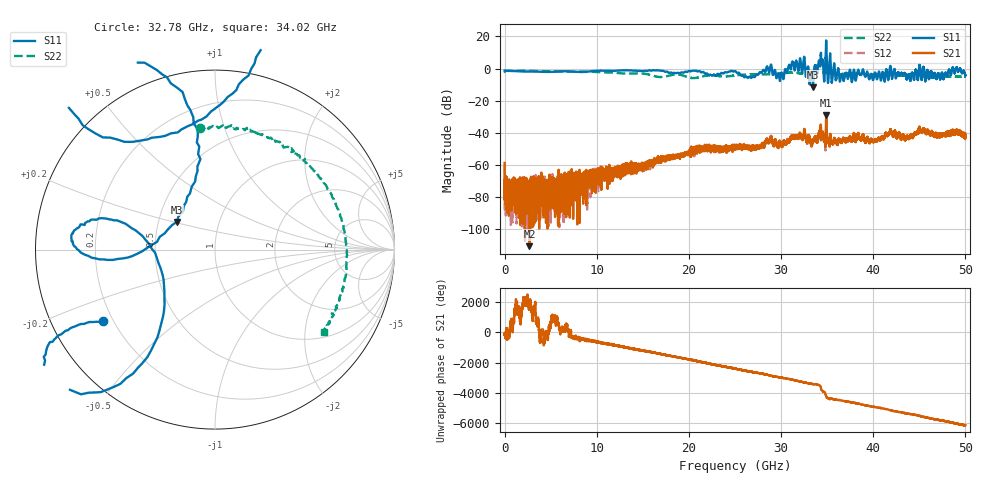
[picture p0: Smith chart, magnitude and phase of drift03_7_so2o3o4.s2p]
!Created with skrf (http://scikit-rf.org).
# Hz S RI R 50.0
!freq ReS11 ImS11 ReS21 ImS21 ReS12 ImS12 ReS22 ImS22
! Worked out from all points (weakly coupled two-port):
!   10001 points, 300 kHz to 50 GHz, reference 50 ohm
!   highest |S21| = -28.91 dB at 34.89 GHz (marker M1); lowest = -110.7 dB at 2.69 GHz (marker M2)
!   lowest |S11| = -11.6 dB at 33.47 GHz (marker M3), VSWR 1.71, Z = 31.2 + j10.3 ohm
!   |S11| at or under -10 dB: 33.4451 GHz to 33.48657 GHz (41.47 MHz wide, 0.124 % of centre)
!   |S22| runs from -6.0 to -1.3 dB; largest |S21 - S12| = 0.009
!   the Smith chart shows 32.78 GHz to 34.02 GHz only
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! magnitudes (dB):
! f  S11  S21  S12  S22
! 300 kHz  -1.3  -58.8  -60.9  -2.0
! 355.3 MHz  -1.4  -79.4  -77.3  -1.4
! 2.69 GHz  -1.9  -110.7  -77.1  -1.4
! 8.335 GHz  -2.2  -67.3  -69.9  -1.9
! 16.67 GHz  -1.2  -56.8  -57.2  -5.2
! 25 GHz  -1.5  -49.1  -48.9  -4.3
! 26.92 GHz  -4.9  -49.2  -49.8  -3.6
! 28.73 GHz  -2.3  -45.4  -46.2  -3.5
! 30.06 GHz  -2.5  -48.2  -47.1  -2.9
! 31.08 GHz  -0.4  -43.0  -42.6  -2.5
! 31.88 GHz  -1.7  -42.2  -41.9  -2.9
! 33.34 GHz  -2.2  -47.5  -46.9  -2.9
! 33.47 GHz  -11.6  -44.0  -45.0  -2.8
! 34.29 GHz  5.4  -36.1  -36.4  -2.4
! 34.89 GHz  17.5  -28.9  -31.4  -2.4
! 36.59 GHz  -3.7  -45.9  -46.3  -3.6
! 40.16 GHz  -3.0  -44.6  -44.5  -3.7
! 41.67 GHz  -6.1  -41.1  -40.7  -3.7
! 43.67 GHz  -6.5  -41.9  -42.6  -4.0
! 45.2 GHz  -4.8  -38.7  -39.0  -4.5
! 47.07 GHz  -3.2  -42.2  -41.3  -5.1
! 50 GHz  -4.4  -40.5  -43.5  -5.0
